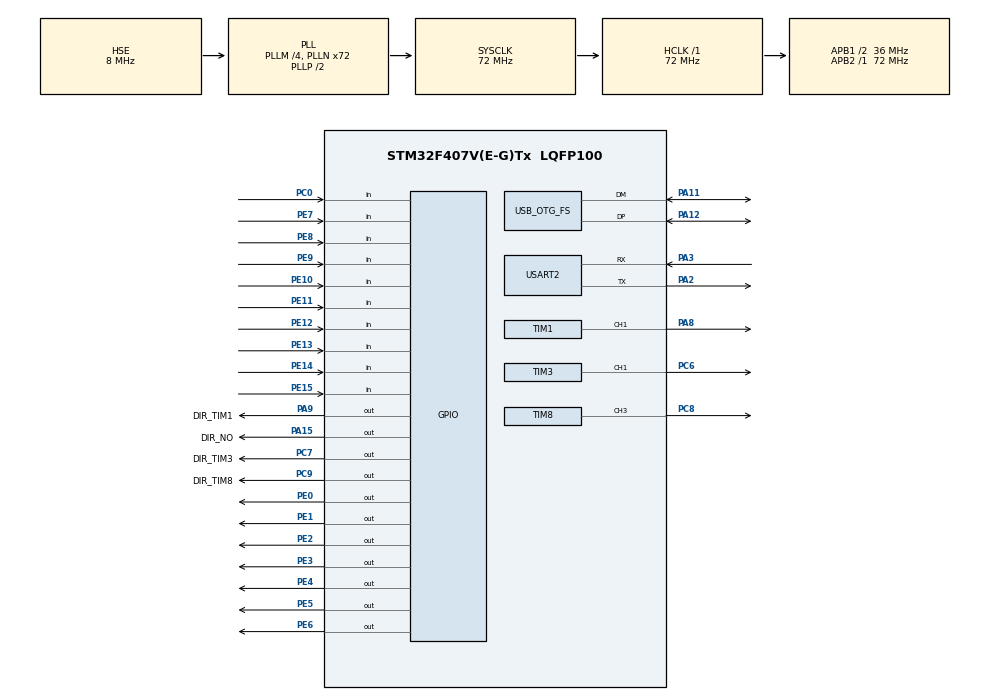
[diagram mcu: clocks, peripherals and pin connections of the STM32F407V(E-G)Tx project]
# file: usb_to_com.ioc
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Dma.Request0=USART2_RX
Dma.USART2_RX.0.Direction=DMA_PERIPH_TO_MEMORY
Dma.USART2_RX.0.FIFOMode=DMA_FIFOMODE_DISABLE
Dma.USART2_RX.0.Instance=DMA1_Stream5
Dma.USART2_RX.0.MemDataAlignment=DMA_MDATAALIGN_BYTE
Dma.USART2_RX.0.MemInc=DMA_MINC_ENABLE
Dma.USART2_RX.0.Mode=DMA_NORMAL
Dma.USART2_RX.0.PeriphDataAlignment=DMA_PDATAALIGN_BYTE
Dma.USART2_RX.0.PeriphInc=DMA_PINC_DISABLE
Dma.USART2_RX.0.Priority=DMA_PRIORITY_LOW
Mcu.Family=STM32F4
Mcu.Name=STM32F407V(E-G)Tx
Mcu.Package=LQFP100
NVIC.DMA1_Stream5_IRQn=true\:0\:0\:false\:false\:true\:false\:true\:true
NVIC.OTG_FS_IRQn=true\:0\:0\:false\:false\:true\:false\:true\:true
NVIC.PriorityGroup=NVIC_PRIORITYGROUP_4
NVIC.TIM7_IRQn=true\:0\:0\:false\:false\:true\:true\:true\:true
NVIC.USART2_IRQn=true\:0\:0\:false\:false\:true\:true\:true\:true
PA11.Mode=Device_Only
PA11.Signal=USB_OTG_FS_DM
PA12.Mode=Device_Only
PA12.Signal=USB_OTG_FS_DP
PA13.Mode=Serial_Wire
PA13.Signal=SYS_JTMS-SWDIO
PA14.Mode=Serial_Wire
PA14.Signal=SYS_JTCK-SWCLK
PA15.GPIO_Label=DIR_NO
PA15.Signal=GPIO_Output
PA2.Mode=Asynchronous
PA2.Signal=USART2_TX
PA3.Mode=Asynchronous
PA3.Signal=USART2_RX
PA8.GPIO_PuPd=GPIO_NOPULL
PA8.Signal=S_TIM1_CH1
PA9.GPIO_Label=DIR_TIM1
PA9.Signal=GPIO_Output
PC0.Signal=GPIO_Input
PC6.GPIO_PuPd=GPIO_NOPULL
PC6.Signal=S_TIM3_CH1
PC7.GPIO_Label=DIR_TIM3
PC7.Signal=GPIO_Output
PC8.GPIO_ModeDefaultPP=GPIO_MODE_AF_PP
PC8.GPIO_PuPd=GPIO_NOPULL
PC8.Signal=S_TIM8_CH3
PC9.GPIO_Label=DIR_TIM8
PC9.Signal=GPIO_Output
PE0.Signal=GPIO_Output
PE1.Signal=GPIO_Output
PE10.GPIO_PuPd=GPIO_PULLUP
PE10.Signal=GPIO_Input
PE11.GPIO_PuPd=GPIO_PULLUP
PE11.Signal=GPIO_Input
PE12.GPIO_PuPd=GPIO_PULLUP
PE12.Signal=GPIO_Input
PE13.GPIO_PuPd=GPIO_PULLUP
PE13.Signal=GPIO_Input
PE14.GPIO_PuPd=GPIO_PULLUP
PE14.Signal=GPIO_Input
PE15.GPIO_PuPd=GPIO_PULLUP
PE15.Signal=GPIO_Input
PE2.Signal=GPIO_Output
PE3.Signal=GPIO_Output
PE4.Signal=GPIO_Output
PE5.Signal=GPIO_Output
PE6.Signal=GPIO_Output
PE7.GPIO_PuPd=GPIO_PULLUP
PE7.Signal=GPIO_Input
PE8.GPIO_PuPd=GPIO_PULLUP
PE8.Signal=GPIO_Input
PE9.GPIO_PuPd=GPIO_PULLUP
PE9.Signal=GPIO_Input
PH0-OSC_IN.Mode=HSE-External-Oscillator
PH0-OSC_IN.Signal=RCC_OSC_IN
PH1-OSC_OUT.Mode=HSE-External-Oscillator
PH1-OSC_OUT.Signal=RCC_OSC_OUT
ProjectManager.HeapSize=0x200
ProjectManager.StackSize=0x400
ProjectManager.TargetToolchain=STM32CubeIDE
RCC.48MHZClocksFreq_Value=48000000
RCC.AHBFreq_Value=72000000
RCC.APB1CLKDivider=RCC_HCLK_DIV2
RCC.APB1Freq_Value=36000000
RCC.APB1TimFreq_Value=72000000
RCC.APB2Freq_Value=72000000
RCC.APB2TimFreq_Value=72000000
RCC.CortexFreq_Value=72000000
RCC.HCLKFreq_Value=72000000
RCC.HSE_VALUE=8000000
RCC.HSI_VALUE=16000000
RCC.LSE_VALUE=32768
RCC.PLLM=4
RCC.PLLN=72
RCC.PLLQ=3
RCC.SYSCLKFreq_VALUE=72000000
RCC.SYSCLKSource=RCC_SYSCLKSOURCE_PLLCLK
RCC.VCOOutputFreq_Value=144000000
SH.S_TIM1_CH1.0=TIM1_CH1,PWM Generation1 CH1
SH.S_TIM3_CH1.0=TIM3_CH1,PWM Generation1 CH1
SH.S_TIM8_CH3.0=TIM8_CH3,PWM Generation3 CH3
TIM1.AutoReloadPreload=TIM_AUTORELOAD_PRELOAD_ENABLE
TIM1.Channel-PWM\ Generation1\ CH1=TIM_CHANNEL_1
TIM1.OCMode_PWM-PWM\ Generation1\ CH1=TIM_OCMODE_PWM1
TIM1.Period=999
TIM1.Prescaler=71
TIM1.Pulse-PWM\ Generation1\ CH1=500
TIM1.TIM_MasterOutputTrigger=TIM_TRGO_UPDATE
TIM1.TIM_MasterSlaveMode=TIM_MASTERSLAVEMODE_ENABLE
TIM2.AutoReloadPreload=TIM_AUTORELOAD_PRELOAD_ENABLE
TIM2.Channel-PWM\ Generation2\ No\ Output=TIM_CHANNEL_2
TIM2.OCPolarity_2=TIM_OCPOLARITY_HIGH
TIM2.Period=1000
TIM2.Prescaler=0
TIM2.Pulse-PWM\ Generation2\ No\ Output=1000
TIM2.TIM_MasterOutputTrigger=TIM_TRGO_OC2REF
TIM2.TIM_MasterSlaveMode=TIM_MASTERSLAVEMODE_ENABLE
TIM3.AutoReloadPreload=TIM_AUTORELOAD_PRELOAD_ENABLE
TIM3.Channel-PWM\ Generation1\ CH1=TIM_CHANNEL_1
TIM3.Period=999
TIM3.Prescaler=71
TIM3.Pulse-PWM\ Generation1\ CH1=500
TIM3.TIM_MasterOutputTrigger=TIM_TRGO_UPDATE
TIM3.TIM_MasterSlaveMode=TIM_MASTERSLAVEMODE_ENABLE
TIM4.AutoReloadPreload=TIM_AUTORELOAD_PRELOAD_ENABLE
TIM4.Channel-PWM\ Generation1\ No\ Output=TIM_CHANNEL_1
TIM4.OCPolarity_1=TIM_OCPOLARITY_HIGH
TIM4.Period=999
TIM4.Prescaler=0
TIM4.Pulse-PWM\ Generation1\ No\ Output=999
TIM4.TIM_MasterOutputTrigger=TIM_TRGO_OC1REF
TIM4.TIM_MasterSlaveMode=TIM_MASTERSLAVEMODE_ENABLE
TIM5.AutoReloadPreload=TIM_AUTORELOAD_PRELOAD_ENABLE
TIM5.Channel-PWM\ Generation1\ No\ Output=TIM_CHANNEL_1
TIM5.OCPolarity_1=TIM_OCPOLARITY_HIGH
TIM5.Period=999
TIM5.Pulse-PWM\ Generation1\ No\ Output=999
TIM5.TIM_MasterOutputTrigger=TIM_TRGO_OC1REF
TIM5.TIM_MasterSlaveMode=TIM_MASTERSLAVEMODE_ENABLE
TIM7.AutoReloadPreload=TIM_AUTORELOAD_PRELOAD_ENABLE
TIM7.Period=999
TIM7.Prescaler=71
TIM8.AutoReloadPreload=TIM_AUTORELOAD_PRELOAD_ENABLE
TIM8.Channel-PWM\ Generation3\ CH3=TIM_CHANNEL_3
TIM8.OCPolarity_3=TIM_OCPOLARITY_HIGH
TIM8.Period=999
TIM8.Prescaler=71
TIM8.Pulse-PWM\ Generation3\ CH3=500
TIM8.TIM_MasterOutputTrigger=TIM_TRGO_UPDATE
TIM8.TIM_MasterSlaveMode=TIM_MASTERSLAVEMODE_ENABLE
USART2.VirtualMode=VM_ASYNC
USB_DEVICE.CLASS_NAME_FS=CDC
USB_DEVICE.VirtualMode-CDC_FS=Cdc
USB_DEVICE.VirtualModeFS=Cdc_FS
USB_OTG_FS.VirtualMode=Device_Only
VP_TIM1_VS_ClockSourceINT.Mode=Internal
VP_TIM1_VS_ClockSourceITR.Mode=TriggerSource_ITR1
VP_TIM1_VS_ControllerModeGated.Mode=Gated Mode
VP_TIM2_VS_ClockSourceITR.Mode=TriggerSource_ITR0
VP_TIM2_VS_ControllerModeClock.Mode=Clock Mode
VP_TIM2_VS_no_output2.Mode=PWM Generation2 No Output
VP_TIM3_VS_ClockSourceINT.Mode=Internal
VP_TIM3_VS_ClockSourceITR.Mode=TriggerSource_ITR2
VP_TIM3_VS_ControllerModeGated.Mode=Gated Mode
VP_TIM4_VS_ClockSourceITR.Mode=TriggerSource_ITR3
VP_TIM4_VS_ControllerModeClock.Mode=Clock Mode
VP_TIM4_VS_no_output1.Mode=PWM Generation1 No Output
VP_TIM5_VS_ClockSourceITR.Mode=TriggerSource_ITR1
VP_TIM5_VS_ControllerModeClock.Mode=Clock Mode
VP_TIM5_VS_no_output1.Mode=PWM Generation1 No Output
VP_TIM7_VS_ClockSourceINT.Mode=Enable_Timer
VP_TIM8_VS_ClockSourceINT.Mode=Internal
VP_TIM8_VS_ClockSourceITR.Mode=TriggerSource_ITR2
VP_TIM8_VS_ControllerModeGated.Mode=Gated Mode
VP_USB_DEVICE_VS_USB_DEVICE_CDC_FS.Mode=CDC_FS
board=custom

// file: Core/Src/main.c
/* USER CODE BEGIN Header */
/**
  ******************************************************************************
  * @file           : main.c
  * @brief          : Main program body
  ******************************************************************************
  * @attention
  *
  * Copyright (c) 2026 STMicroelectronics.
  * All rights reserved.
  *
  * This software is licensed under terms that can be found in the LICENSE file
  * in the root directory of this software component.
  * If no LICENSE file comes with this software, it is provided AS-IS.
  *
  ******************************************************************************
  */
/* USER CODE END Header */
#include "main.h"
#include "usb_device.h"

/* USER CODE BEGIN Includes */
//#include "usb_device.h"
#include "drive.h"
#include"drive_time.h"
#include "RS232.h"
#include "mgr_hmi.h"
/* USER CODE END Includes */

TIM_HandleTypeDef htim1;
TIM_HandleTypeDef htim2;
TIM_HandleTypeDef htim3;
TIM_HandleTypeDef htim4;
TIM_HandleTypeDef htim5;
TIM_HandleTypeDef htim7;
TIM_HandleTypeDef htim8;

UART_HandleTypeDef huart2;
DMA_HandleTypeDef hdma_usart2_rx;

/* USER CODE BEGIN PV */
TIM_HandleTypeDef htim9;
/* USER CODE END PV */

void SystemClock_Config(void);
static void MX_GPIO_Init(void);
static void MX_DMA_Init(void);
static void MX_TIM1_Init(void);
static void MX_TIM3_Init(void);
static void MX_TIM4_Init(void);
static void MX_TIM2_Init(void);
static void MX_TIM8_Init(void);
static void MX_TIM5_Init(void);
static void MX_TIM7_Init(void);
static void MX_USART2_UART_Init(void);
/* USER CODE BEGIN PFP */
uint8_t time_on=0x00;
/* USER CODE END PFP */

int main(void)
{

  /* MCU Configuration--------------------------------------------------------*/

  /* Reset of all peripherals, Initializes the Flash interface and the Systick. */
  HAL_Init();

  /* Configure the system clock */
  SystemClock_Config();

  /* Initialize all configured peripherals */
  MX_GPIO_Init();
  MX_DMA_Init();
  MX_USB_DEVICE_Init();
  MX_TIM1_Init();
  MX_TIM3_Init();
  MX_TIM4_Init();
  MX_TIM2_Init();
  MX_TIM8_Init();
  MX_TIM5_Init();
  MX_TIM7_Init();
  MX_USART2_UART_Init();
  /* USER CODE BEGIN 2 */
  Init_Timer_chanal();
  HAL_Delay(5000);// đồng bộ với Hdmi
  Robot_Init();
  Delay_SetTimer(TID_TIMER_1ms,1);
  Delay_SetTimer(TID_TIMER_1000ms,5000);
  HMI_Init();
  HAL_TIM_Base_Start_IT(&htim7);
  /* USER CODE END 2 */

  /* Infinite loop */
  /* USER CODE BEGIN WHILE */
  while (1)
  {
		time_on=Delay_GetTimer(TID_TIMER_1ms);
		if(time_on==0x01)
		{
			Task_Run_HMI();
		}

    /* USER CODE END WHILE */

  }
}

void SystemClock_Config(void)
{
  RCC_OscInitTypeDef RCC_OscInitStruct = {0};
  RCC_ClkInitTypeDef RCC_ClkInitStruct = {0};

  /** Configure the main internal regulator output voltage
  */
  __HAL_RCC_PWR_CLK_ENABLE();
  __HAL_PWR_VOLTAGESCALING_CONFIG(PWR_REGULATOR_VOLTAGE_SCALE1);

  /** Initializes the RCC Oscillators according to the specified parameters
  * in the RCC_OscInitTypeDef structure.
  */
  RCC_OscInitStruct.OscillatorType = RCC_OSCILLATORTYPE_HSE;
  RCC_OscInitStruct.HSEState = RCC_HSE_ON;
  RCC_OscInitStruct.PLL.PLLState = RCC_PLL_ON;
  RCC_OscInitStruct.PLL.PLLSource = RCC_PLLSOURCE_HSE;
  RCC_OscInitStruct.PLL.PLLM = 4;
  RCC_OscInitStruct.PLL.PLLN = 72;
  RCC_OscInitStruct.PLL.PLLP = RCC_PLLP_DIV2;
  RCC_OscInitStruct.PLL.PLLQ = 3;
  if (HAL_RCC_OscConfig(&RCC_OscInitStruct) != HAL_OK)
  {
    Error_Handler();
  }

  /** Initializes the CPU, AHB and APB buses clocks
  */
  RCC_ClkInitStruct.ClockType = RCC_CLOCKTYPE_HCLK|RCC_CLOCKTYPE_SYSCLK
                              |RCC_CLOCKTYPE_PCLK1|RCC_CLOCKTYPE_PCLK2;
  RCC_ClkInitStruct.SYSCLKSource = RCC_SYSCLKSOURCE_PLLCLK;
  RCC_ClkInitStruct.AHBCLKDivider = RCC_SYSCLK_DIV1;
  RCC_ClkInitStruct.APB1CLKDivider = RCC_HCLK_DIV2;
  RCC_ClkInitStruct.APB2CLKDivider = RCC_HCLK_DIV1;

  if (HAL_RCC_ClockConfig(&RCC_ClkInitStruct, FLASH_LATENCY_2) != HAL_OK)
  {
    Error_Handler();
  }
}

static void MX_TIM1_Init(void)
{

  TIM_ClockConfigTypeDef sClockSourceConfig = {0};
  TIM_SlaveConfigTypeDef sSlaveConfig = {0};
  TIM_MasterConfigTypeDef sMasterConfig = {0};
  TIM_OC_InitTypeDef sConfigOC = {0};
  TIM_BreakDeadTimeConfigTypeDef sBreakDeadTimeConfig = {0};

  htim1.Instance = TIM1;
  htim1.Init.Prescaler = 71;
  htim1.Init.CounterMode = TIM_COUNTERMODE_UP;
  htim1.Init.Period = 999;
  htim1.Init.ClockDivision = TIM_CLOCKDIVISION_DIV1;
  htim1.Init.RepetitionCounter = 0;
  htim1.Init.AutoReloadPreload = TIM_AUTORELOAD_PRELOAD_ENABLE;
  if (HAL_TIM_Base_Init(&htim1) != HAL_OK)
  {
    Error_Handler();
  }
  sClockSourceConfig.ClockSource = TIM_CLOCKSOURCE_INTERNAL;
  if (HAL_TIM_ConfigClockSource(&htim1, &sClockSourceConfig) != HAL_OK)
  {
    Error_Handler();
  }
  if (HAL_TIM_PWM_Init(&htim1) != HAL_OK)
  {
    Error_Handler();
  }
  sSlaveConfig.SlaveMode = TIM_SLAVEMODE_GATED;
  sSlaveConfig.InputTrigger = TIM_TS_ITR1;
  if (HAL_TIM_SlaveConfigSynchro(&htim1, &sSlaveConfig) != HAL_OK)
  {
    Error_Handler();
  }
  sMasterConfig.MasterOutputTrigger = TIM_TRGO_UPDATE;
  sMasterConfig.MasterSlaveMode = TIM_MASTERSLAVEMODE_ENABLE;
  if (HAL_TIMEx_MasterConfigSynchronization(&htim1, &sMasterConfig) != HAL_OK)
  {
    Error_Handler();
  }
  sConfigOC.OCMode = TIM_OCMODE_PWM1;
  sConfigOC.Pulse = 500;
  sConfigOC.OCPolarity = TIM_OCPOLARITY_HIGH;
  sConfigOC.OCNPolarity = TIM_OCNPOLARITY_HIGH;
  sConfigOC.OCFastMode = TIM_OCFAST_DISABLE;
  sConfigOC.OCIdleState = TIM_OCIDLESTATE_RESET;
  sConfigOC.OCNIdleState = TIM_OCNIDLESTATE_RESET;
  if (HAL_TIM_PWM_ConfigChannel(&htim1, &sConfigOC, TIM_CHANNEL_1) != HAL_OK)
  {
    Error_Handler();
  }
  sBreakDeadTimeConfig.OffStateRunMode = TIM_OSSR_DISABLE;
  sBreakDeadTimeConfig.OffStateIDLEMode = TIM_OSSI_DISABLE;
  sBreakDeadTimeConfig.LockLevel = TIM_LOCKLEVEL_OFF;
  sBreakDeadTimeConfig.DeadTime = 0;
  sBreakDeadTimeConfig.BreakState = TIM_BREAK_DISABLE;
  sBreakDeadTimeConfig.BreakPolarity = TIM_BREAKPOLARITY_HIGH;
  sBreakDeadTimeConfig.AutomaticOutput = TIM_AUTOMATICOUTPUT_DISABLE;
  if (HAL_TIMEx_ConfigBreakDeadTime(&htim1, &sBreakDeadTimeConfig) != HAL_OK)
  {
    Error_Handler();
  }
  HAL_TIM_MspPostInit(&htim1);

}

static void MX_TIM2_Init(void)
{

  TIM_SlaveConfigTypeDef sSlaveConfig = {0};
  TIM_MasterConfigTypeDef sMasterConfig = {0};
  TIM_OC_InitTypeDef sConfigOC = {0};

  htim2.Instance = TIM2;
  htim2.Init.Prescaler = 0;
  htim2.Init.CounterMode = TIM_COUNTERMODE_UP;
  htim2.Init.Period = 1000;
  htim2.Init.ClockDivision = TIM_CLOCKDIVISION_DIV1;
  htim2.Init.AutoReloadPreload = TIM_AUTORELOAD_PRELOAD_ENABLE;
  if (HAL_TIM_Base_Init(&htim2) != HAL_OK)
  {
    Error_Handler();
  }
  if (HAL_TIM_PWM_Init(&htim2) != HAL_OK)
  {
    Error_Handler();
  }
  sSlaveConfig.SlaveMode = TIM_SLAVEMODE_EXTERNAL1;
  sSlaveConfig.InputTrigger = TIM_TS_ITR0;
  if (HAL_TIM_SlaveConfigSynchro(&htim2, &sSlaveConfig) != HAL_OK)
  {
    Error_Handler();
  }
  sMasterConfig.MasterOutputTrigger = TIM_TRGO_OC2REF;
  sMasterConfig.MasterSlaveMode = TIM_MASTERSLAVEMODE_ENABLE;
  if (HAL_TIMEx_MasterConfigSynchronization(&htim2, &sMasterConfig) != HAL_OK)
  {
    Error_Handler();
  }
  sConfigOC.OCMode = TIM_OCMODE_PWM1;
  sConfigOC.Pulse = 1000;
  sConfigOC.OCPolarity = TIM_OCPOLARITY_HIGH;
  sConfigOC.OCFastMode = TIM_OCFAST_DISABLE;
  if (HAL_TIM_PWM_ConfigChannel(&htim2, &sConfigOC, TIM_CHANNEL_2) != HAL_OK)
  {
    Error_Handler();
  }

}

static void MX_TIM3_Init(void)
{

  TIM_ClockConfigTypeDef sClockSourceConfig = {0};
  TIM_SlaveConfigTypeDef sSlaveConfig = {0};
  TIM_MasterConfigTypeDef sMasterConfig = {0};
  TIM_OC_InitTypeDef sConfigOC = {0};

  htim3.Instance = TIM3;
  htim3.Init.Prescaler = 71;
  htim3.Init.CounterMode = TIM_COUNTERMODE_UP;
  htim3.Init.Period = 999;
  htim3.Init.ClockDivision = TIM_CLOCKDIVISION_DIV1;
  htim3.Init.AutoReloadPreload = TIM_AUTORELOAD_PRELOAD_ENABLE;
  if (HAL_TIM_Base_Init(&htim3) != HAL_OK)
  {
    Error_Handler();
  }
  sClockSourceConfig.ClockSource = TIM_CLOCKSOURCE_INTERNAL;
  if (HAL_TIM_ConfigClockSource(&htim3, &sClockSourceConfig) != HAL_OK)
  {
    Error_Handler();
  }
  if (HAL_TIM_PWM_Init(&htim3) != HAL_OK)
  {
    Error_Handler();
  }
  sSlaveConfig.SlaveMode = TIM_SLAVEMODE_GATED;
  sSlaveConfig.InputTrigger = TIM_TS_ITR2;
  if (HAL_TIM_SlaveConfigSynchro(&htim3, &sSlaveConfig) != HAL_OK)
  {
    Error_Handler();
  }
  sMasterConfig.MasterOutputTrigger = TIM_TRGO_UPDATE;
  sMasterConfig.MasterSlaveMode = TIM_MASTERSLAVEMODE_ENABLE;
  if (HAL_TIMEx_MasterConfigSynchronization(&htim3, &sMasterConfig) != HAL_OK)
  {
    Error_Handler();
  }
  sConfigOC.OCMode = TIM_OCMODE_PWM1;
  sConfigOC.Pulse = 500;
  sConfigOC.OCPolarity = TIM_OCPOLARITY_HIGH;
  sConfigOC.OCFastMode = TIM_OCFAST_DISABLE;
  if (HAL_TIM_PWM_ConfigChannel(&htim3, &sConfigOC, TIM_CHANNEL_1) != HAL_OK)
  {
    Error_Handler();
  }
  HAL_TIM_MspPostInit(&htim3);

}

static void MX_TIM4_Init(void)
{

  TIM_SlaveConfigTypeDef sSlaveConfig = {0};
  TIM_MasterConfigTypeDef sMasterConfig = {0};
  TIM_OC_InitTypeDef sConfigOC = {0};

  htim4.Instance = TIM4;
  htim4.Init.Prescaler = 0;
  htim4.Init.CounterMode = TIM_COUNTERMODE_UP;
  htim4.Init.Period = 999;
  htim4.Init.ClockDivision = TIM_CLOCKDIVISION_DIV1;
  htim4.Init.AutoReloadPreload = TIM_AUTORELOAD_PRELOAD_ENABLE;
  if (HAL_TIM_Base_Init(&htim4) != HAL_OK)
  {
    Error_Handler();
  }
  if (HAL_TIM_PWM_Init(&htim4) != HAL_OK)
  {
    Error_Handler();
  }
  sSlaveConfig.SlaveMode = TIM_SLAVEMODE_EXTERNAL1;
  sSlaveConfig.InputTrigger = TIM_TS_ITR3;
  if (HAL_TIM_SlaveConfigSynchro(&htim4, &sSlaveConfig) != HAL_OK)
  {
    Error_Handler();
  }
  sMasterConfig.MasterOutputTrigger = TIM_TRGO_OC1REF;
  sMasterConfig.MasterSlaveMode = TIM_MASTERSLAVEMODE_ENABLE;
  if (HAL_TIMEx_MasterConfigSynchronization(&htim4, &sMasterConfig) != HAL_OK)
  {
    Error_Handler();
  }
  sConfigOC.OCMode = TIM_OCMODE_PWM1;
  sConfigOC.Pulse = 999;
  sConfigOC.OCPolarity = TIM_OCPOLARITY_HIGH;
  sConfigOC.OCFastMode = TIM_OCFAST_DISABLE;
  if (HAL_TIM_PWM_ConfigChannel(&htim4, &sConfigOC, TIM_CHANNEL_1) != HAL_OK)
  {
    Error_Handler();
  }

}

static void MX_TIM5_Init(void)
{

  TIM_SlaveConfigTypeDef sSlaveConfig = {0};
  TIM_MasterConfigTypeDef sMasterConfig = {0};
  TIM_OC_InitTypeDef sConfigOC = {0};

  htim5.Instance = TIM5;
  htim5.Init.Prescaler = 0;
  htim5.Init.CounterMode = TIM_COUNTERMODE_UP;
  htim5.Init.Period = 999;
  htim5.Init.ClockDivision = TIM_CLOCKDIVISION_DIV1;
  htim5.Init.AutoReloadPreload = TIM_AUTORELOAD_PRELOAD_ENABLE;
  if (HAL_TIM_Base_Init(&htim5) != HAL_OK)
  {
    Error_Handler();
  }
  if (HAL_TIM_PWM_Init(&htim5) != HAL_OK)
  {
    Error_Handler();
  }
  sSlaveConfig.SlaveMode = TIM_SLAVEMODE_EXTERNAL1;
  sSlaveConfig.InputTrigger = TIM_TS_ITR1;
  if (HAL_TIM_SlaveConfigSynchro(&htim5, &sSlaveConfig) != HAL_OK)
  {
    Error_Handler();
  }
  sMasterConfig.MasterOutputTrigger = TIM_TRGO_OC1REF;
  sMasterConfig.MasterSlaveMode = TIM_MASTERSLAVEMODE_ENABLE;
  if (HAL_TIMEx_MasterConfigSynchronization(&htim5, &sMasterConfig) != HAL_OK)
  {
    Error_Handler();
  }
  sConfigOC.OCMode = TIM_OCMODE_PWM1;
  sConfigOC.Pulse = 999;
  sConfigOC.OCPolarity = TIM_OCPOLARITY_HIGH;
  sConfigOC.OCFastMode = TIM_OCFAST_DISABLE;
  if (HAL_TIM_PWM_ConfigChannel(&htim5, &sConfigOC, TIM_CHANNEL_1) != HAL_OK)
  {
    Error_Handler();
  }

}

static void MX_TIM7_Init(void)
{

  TIM_MasterConfigTypeDef sMasterConfig = {0};

  htim7.Instance = TIM7;
  htim7.Init.Prescaler = 71;
  htim7.Init.CounterMode = TIM_COUNTERMODE_UP;
  htim7.Init.Period = 999;
  htim7.Init.AutoReloadPreload = TIM_AUTORELOAD_PRELOAD_ENABLE;
  if (HAL_TIM_Base_Init(&htim7) != HAL_OK)
  {
    Error_Handler();
  }
  sMasterConfig.MasterOutputTrigger = TIM_TRGO_RESET;
  sMasterConfig.MasterSlaveMode = TIM_MASTERSLAVEMODE_DISABLE;
  if (HAL_TIMEx_MasterConfigSynchronization(&htim7, &sMasterConfig) != HAL_OK)
  {
    Error_Handler();
  }

}

static void MX_TIM8_Init(void)
{

  TIM_ClockConfigTypeDef sClockSourceConfig = {0};
  TIM_SlaveConfigTypeDef sSlaveConfig = {0};
  TIM_MasterConfigTypeDef sMasterConfig = {0};
  TIM_OC_InitTypeDef sConfigOC = {0};
  TIM_BreakDeadTimeConfigTypeDef sBreakDeadTimeConfig = {0};

  htim8.Instance = TIM8;
  htim8.Init.Prescaler = 71;
  htim8.Init.CounterMode = TIM_COUNTERMODE_UP;
  htim8.Init.Period = 999;
  htim8.Init.ClockDivision = TIM_CLOCKDIVISION_DIV1;
  htim8.Init.RepetitionCounter = 0;
  htim8.Init.AutoReloadPreload = TIM_AUTORELOAD_PRELOAD_ENABLE;
  if (HAL_TIM_Base_Init(&htim8) != HAL_OK)
  {
    Error_Handler();
  }
  sClockSourceConfig.ClockSource = TIM_CLOCKSOURCE_INTERNAL;
  if (HAL_TIM_ConfigClockSource(&htim8, &sClockSourceConfig) != HAL_OK)
  {
    Error_Handler();
  }
  if (HAL_TIM_PWM_Init(&htim8) != HAL_OK)
  {
    Error_Handler();
  }
  sSlaveConfig.SlaveMode = TIM_SLAVEMODE_GATED;
  sSlaveConfig.InputTrigger = TIM_TS_ITR2;
  if (HAL_TIM_SlaveConfigSynchro(&htim8, &sSlaveConfig) != HAL_OK)
  {
    Error_Handler();
  }
  sMasterConfig.MasterOutputTrigger = TIM_TRGO_UPDATE;
  sMasterConfig.MasterSlaveMode = TIM_MASTERSLAVEMODE_ENABLE;
  if (HAL_TIMEx_MasterConfigSynchronization(&htim8, &sMasterConfig) != HAL_OK)
  {
    Error_Handler();
  }
  sConfigOC.OCMode = TIM_OCMODE_PWM1;
  sConfigOC.Pulse = 500;
  sConfigOC.OCPolarity = TIM_OCPOLARITY_HIGH;
  sConfigOC.OCNPolarity = TIM_OCNPOLARITY_HIGH;
  sConfigOC.OCFastMode = TIM_OCFAST_DISABLE;
  sConfigOC.OCIdleState = TIM_OCIDLESTATE_RESET;
  sConfigOC.OCNIdleState = TIM_OCNIDLESTATE_RESET;
  if (HAL_TIM_PWM_ConfigChannel(&htim8, &sConfigOC, TIM_CHANNEL_3) != HAL_OK)
  {
    Error_Handler();
  }
  sBreakDeadTimeConfig.OffStateRunMode = TIM_OSSR_DISABLE;
  sBreakDeadTimeConfig.OffStateIDLEMode = TIM_OSSI_DISABLE;
  sBreakDeadTimeConfig.LockLevel = TIM_LOCKLEVEL_OFF;
  sBreakDeadTimeConfig.DeadTime = 0;
  sBreakDeadTimeConfig.BreakState = TIM_BREAK_DISABLE;
  sBreakDeadTimeConfig.BreakPolarity = TIM_BREAKPOLARITY_HIGH;
  sBreakDeadTimeConfig.AutomaticOutput = TIM_AUTOMATICOUTPUT_DISABLE;
  if (HAL_TIMEx_ConfigBreakDeadTime(&htim8, &sBreakDeadTimeConfig) != HAL_OK)
  {
    Error_Handler();
  }
  HAL_TIM_MspPostInit(&htim8);

}

static void MX_USART2_UART_Init(void)
{

  huart2.Instance = USART2;
  huart2.Init.BaudRate = 115200;
  huart2.Init.WordLength = UART_WORDLENGTH_8B;
  huart2.Init.StopBits = UART_STOPBITS_1;
  huart2.Init.Parity = UART_PARITY_NONE;
  huart2.Init.Mode = UART_MODE_TX_RX;
  huart2.Init.HwFlowCtl = UART_HWCONTROL_NONE;
  huart2.Init.OverSampling = UART_OVERSAMPLING_16;
  if (HAL_UART_Init(&huart2) != HAL_OK)
  {
    Error_Handler();
  }

}

static void MX_DMA_Init(void)
{

  /* DMA controller clock enable */
  __HAL_RCC_DMA1_CLK_ENABLE();

  /* DMA interrupt init */
  /* DMA1_Stream5_IRQn interrupt configuration */
  HAL_NVIC_SetPriority(DMA1_Stream5_IRQn, 0, 0);
  HAL_NVIC_EnableIRQ(DMA1_Stream5_IRQn);

}

static void MX_GPIO_Init(void)
{
  GPIO_InitTypeDef GPIO_InitStruct = {0};

  /* GPIO Ports Clock Enable */
  __HAL_RCC_GPIOE_CLK_ENABLE();
  __HAL_RCC_GPIOH_CLK_ENABLE();
  __HAL_RCC_GPIOC_CLK_ENABLE();
  __HAL_RCC_GPIOA_CLK_ENABLE();

  /*Configure GPIO pin Output Level */
  HAL_GPIO_WritePin(GPIOE, GPIO_PIN_2|GPIO_PIN_3|GPIO_PIN_4|GPIO_PIN_5
                          |GPIO_PIN_6|GPIO_PIN_0|GPIO_PIN_1, GPIO_PIN_RESET);

  /*Configure GPIO pin Output Level */
  HAL_GPIO_WritePin(GPIOC, DIR_TIM3_Pin|DIR_TIM8_Pin, GPIO_PIN_RESET);

  /*Configure GPIO pin Output Level */
  HAL_GPIO_WritePin(GPIOA, DIR_TIM1_Pin|DIR_NO_Pin, GPIO_PIN_RESET);

  /*Configure GPIO pins : PE2 PE3 PE4 PE5
                           PE6 PE0 PE1 */
  GPIO_InitStruct.Pin = GPIO_PIN_2|GPIO_PIN_3|GPIO_PIN_4|GPIO_PIN_5
                          |GPIO_PIN_6|GPIO_PIN_0|GPIO_PIN_1;
  GPIO_InitStruct.Mode = GPIO_MODE_OUTPUT_PP;
  GPIO_InitStruct.Pull = GPIO_NOPULL;
  GPIO_InitStruct.Speed = GPIO_SPEED_FREQ_LOW;
  HAL_GPIO_Init(GPIOE, &GPIO_InitStruct);

  /*Configure GPIO pin : PC0 */
  GPIO_InitStruct.Pin = GPIO_PIN_0;
  GPIO_InitStruct.Mode = GPIO_MODE_INPUT;
  GPIO_InitStruct.Pull = GPIO_NOPULL;
  HAL_GPIO_Init(GPIOC, &GPIO_InitStruct);

  /*Configure GPIO pins : PE7 PE8 PE9 PE10
                           PE11 PE12 PE13 PE14
                           PE15 */
  GPIO_InitStruct.Pin = GPIO_PIN_7|GPIO_PIN_8|GPIO_PIN_9|GPIO_PIN_10
                          |GPIO_PIN_11|GPIO_PIN_12|GPIO_PIN_13|GPIO_PIN_14
                          |GPIO_PIN_15;
  GPIO_InitStruct.Mode = GPIO_MODE_INPUT;
  GPIO_InitStruct.Pull = GPIO_PULLUP;
  HAL_GPIO_Init(GPIOE, &GPIO_InitStruct);

  /*Configure GPIO pins : DIR_TIM3_Pin DIR_TIM8_Pin */
  GPIO_InitStruct.Pin = DIR_TIM3_Pin|DIR_TIM8_Pin;
  GPIO_InitStruct.Mode = GPIO_MODE_OUTPUT_PP;
  GPIO_InitStruct.Pull = GPIO_NOPULL;
  GPIO_InitStruct.Speed = GPIO_SPEED_FREQ_LOW;
  HAL_GPIO_Init(GPIOC, &GPIO_InitStruct);

  /*Configure GPIO pins : DIR_TIM1_Pin DIR_NO_Pin */
  GPIO_InitStruct.Pin = DIR_TIM1_Pin|DIR_NO_Pin;
  GPIO_InitStruct.Mode = GPIO_MODE_OUTPUT_PP;
  GPIO_InitStruct.Pull = GPIO_NOPULL;
  GPIO_InitStruct.Speed = GPIO_SPEED_FREQ_LOW;
  HAL_GPIO_Init(GPIOA, &GPIO_InitStruct);

}

void Error_Handler(void)
{
  __disable_irq();
  while (1)
  {
  }
}
